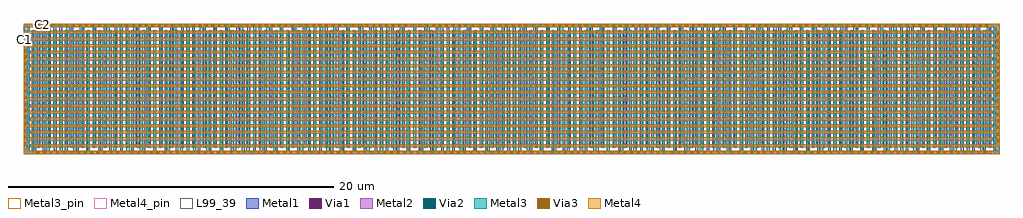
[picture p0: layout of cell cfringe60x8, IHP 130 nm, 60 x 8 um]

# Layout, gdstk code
import gdstk
lib = gdstk.Library(unit=1e-6, precision=1e-09)
def R(c, l, rs):  # rectangles x0, y0, x1, y1
    for r in rs: c.add(gdstk.rectangle(r[:2], r[2:], *l))
def A(c, l, x, y, w, h, nx, ny, dx, dy):  # array of equal rectangles
    R(c, l, [(x+i*dx, y+j*dy, x+i*dx+w, y+j*dy+h) for i in range(nx) for j in range(ny)])
Metal1 = (8, 0)
Metal2 = (10, 0)
Via1 = (19, 0)
Via2 = (29, 0)
Metal3 = (30, 0)
Metal3_pin = (30, 2)
Via3 = (49, 0)
Metal4 = (50, 0)
Metal4_pin = (50, 2)
L99_39 = (99, 39)

cap_mfringe = lib.new_cell('cap_mfringe')
A(cap_mfringe, Metal1, 0.51, 0, 0.16, 7.61, 87, 1, 0.68, 0)
A(cap_mfringe, Metal1, 0.85, 0.39, 0.16, 7.61, 87, 1, 0.68, 0)
R(cap_mfringe, Metal1, [(0,0,59.49,0.21), (0,0,0.29,8), (59.71,0,60,8), (0.51,7.79,60,8)])
A(cap_mfringe, Metal2, 0.42, 0.415, 59.58, 0.2, 1, 9, 0, 0.82)
A(cap_mfringe, Metal2, 0, 0.825, 59.58, 0.2, 1, 9, 0, 0.82)
R(cap_mfringe, Metal2, [(0,0,60,0.205), (0,0,0.205,7.585), (59.795,0.415,60,8), (0,7.795,60,8)])
A(cap_mfringe, Via1, 0.795, 0.01, 0.19, 0.19, 143, 1, 0.41, 0)
A(cap_mfringe, Via1, 0.01, 0.525, 0.19, 0.19, 1, 17, 0, 0.41)
A(cap_mfringe, Via1, 59.8, 0.725, 0.19, 0.19, 1, 17, 0, 0.41)
A(cap_mfringe, Via1, 0.895, 7.8, 0.19, 0.19, 143, 1, 0.41, 0)
A(cap_mfringe, Via2, 0.795, 0.005, 0.19, 0.19, 143, 1, 0.41, 0)
A(cap_mfringe, Via2, 0.005, 0.525, 0.19, 0.19, 1, 17, 0, 0.41)
A(cap_mfringe, Via2, 59.805, 0.725, 0.19, 0.19, 1, 17, 0, 0.41)
A(cap_mfringe, Via2, 0.895, 7.805, 0.19, 0.19, 143, 1, 0.41, 0)
A(cap_mfringe, Metal3, 0.585, 0, 0.2, 7.59, 72, 1, 0.82, 0)
A(cap_mfringe, Metal3, 0.995, 0.41, 0.2, 7.59, 72, 1, 0.82, 0)
R(cap_mfringe, Metal3, [(0,0,59.415,0.2), (0,0,0.375,8), (59.625,0,60,8), (0.585,7.8,60,8)])
A(cap_mfringe, Via3, 0.795, 0.005, 0.19, 0.19, 143, 1, 0.41, 0)
A(cap_mfringe, Via3, 0.005, 0.525, 0.19, 0.19, 1, 17, 0, 0.41)
A(cap_mfringe, Via3, 59.805, 0.725, 0.19, 0.19, 1, 17, 0, 0.41)
A(cap_mfringe, Via3, 0.895, 7.805, 0.19, 0.19, 143, 1, 0.41, 0)
A(cap_mfringe, Metal4, 0.41, 0.415, 59.59, 0.2, 1, 9, 0, 0.82)
A(cap_mfringe, Metal4, 0, 0.825, 59.59, 0.2, 1, 9, 0, 0.82)
R(cap_mfringe, Metal4, [(0,0,60,0.205), (0,0,0.2,7.585), (59.8,0.415,60,8), (0,7.795,60,8)])
R(cap_mfringe, Metal4_pin, [(0,3.9,0.2,4.1), (29.9,7.8,30.1,8)])
R(cap_mfringe, L99_39, [(0,0,60,8)])
cap_mfringe.add(gdstk.Label('cap_mfringe C=1113.600fF', (0,-0.5), layer=63, texttype=0))

cfringe60x8 = lib.new_cell('cfringe60x8')
cfringe60x8.add(gdstk.FlexPath([(-1.78,5.02),(-1.52,5.02)], 0.2, ends="flush", simple_path=True, layer=30, datatype=2))  # Metal3_pin
cfringe60x8.add(gdstk.FlexPath([(-0.79,5.89),(-0.375,5.89)], 0.2, ends="flush", simple_path=True, layer=30, datatype=2))  # Metal3_pin
r = gdstk.Reference(cap_mfringe, (-1.78,-2.01)); r.repetition = gdstk.Repetition(1, 1, v1=(0,0), v2=(0,0)); cfringe60x8.add(r)
cfringe60x8.add(gdstk.Label('C1', (-1.725,5.02), layer=30, texttype=25))
cfringe60x8.add(gdstk.Label('C2', (-0.585,5.93), layer=30, texttype=25))

lib.write_gds('cfringe60x8.gds')
